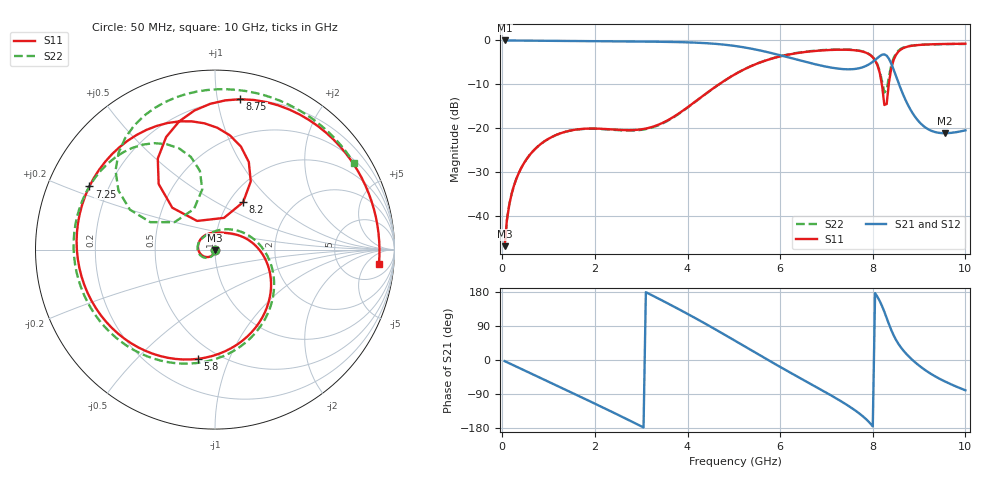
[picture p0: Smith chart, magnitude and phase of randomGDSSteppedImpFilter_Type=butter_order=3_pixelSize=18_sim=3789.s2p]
! freq	dB(S11)	phase(S11)	dB(S12)	phase(S12)
!  dB(S21)	phase(S21)	dB(S22)	phase(S22)
!S-par simulation data
#  GHz  S  DB  R 50
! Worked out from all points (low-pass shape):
!   200 points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, 50 MHz to 10 GHz, reference 50 ohm
!   highest |S21| = 0.00 dB at 50 MHz (marker M1); lowest = -21.2 dB at 9.55 GHz (marker M2)
!   |S21| within 3 dB of the highest: start of sweep to 5.86 GHz
!   lowest |S11| = -46.9 dB at 50 MHz (marker M3), VSWR 1.01, Z = 50 - j0.45 ohm
!   |S11| at or under -10 dB: start of sweep to 4.68 GHz; 8.196 GHz to 8.345 GHz (149.7 MHz wide, 1.81 % of centre)
!   |S22| runs from -46.9 to -0.8 dB; largest |S21 - S12| = 0
!   S11 on the Smith chart (normalised r, x): 50 MHz: 1.00, -0.01; 5.8 GHz: 0.40, -0.78; 7.25 GHz: 0.13, +0.23; 8.2 GHz: 1.16, +0.68; 8.75 GHz: 0.19, +1.16; 10 GHz: 12, -12
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0.05  -46.93 -91.7  -0.00 -2.9  -0.00 -2.9  -46.93 -91.3
0.2  -35.07 -101.5  -0.02 -11.6  -0.02 -11.6  -35.06 -100.1
0.5  -27.46 -120.8  -0.05 -28.8  -0.05 -28.8  -27.46 -117.3
1.15  -21.62 -161.4  -0.11 -66.1  -0.11 -66.1  -21.63 -152.7
1.75  -20.16 160.6  -0.16 -100.7  -0.16 -100.7  -20.19 175.5
2.65  -20.46 102.0  -0.22 -153.7  -0.22 -153.7  -20.55 127.4
3.4  -19.10 56.9  -0.30 160.3  -0.30 160.3  -19.22 80.1
4.3  -12.89 5.7  -0.56 101.6  -0.56 101.6  -12.94 14.7
5.05  -7.57 -44.5  -1.30 49.1  -1.30 49.1  -7.57 -39.6
5.8  -4.21 -98.9  -2.85 -4.4  -2.85 -4.4  -4.17 -92.5
6.7  -2.45 -164.9  -5.29 -66.0  -5.29 -66.0  -2.38 -151.6
7.25  -2.12 153.3  -6.43 -104.1  -6.43 -104.1  -2.05 173.0
7.85  -2.78 100.2  -5.83 -155.5  -5.83 -155.5  -2.73 129.0
8.05  -4.55 75.9  -4.45 176.5  -4.45 176.5  -4.45 109.6
8.2  -10.24 59.3  -3.26 142.4  -3.26 142.4  -9.30 102.0
8.3  -14.51 121.9  -3.47 110.9  -3.47 110.9  -11.31 145.8
8.35  -9.55 135.6  -4.20 94.4  -4.20 94.4  -8.14 157.0
8.5  -3.31 113.5  -8.08 53.6  -8.08 53.6  -3.00 141.5
8.75  -1.42 80.6  -14.52 12.8  -14.52 12.8  -1.33 113.1
9.15  -0.93 46.5  -19.95 -28.2  -19.95 -28.2  -0.93 82.3
9.55  -0.80 20.1  -21.17 -56.2  -21.17 -56.2  -0.84 57.2
10  -0.75 -5.0  -20.51 -80.0  -20.51 -80.0  -0.80 31.9
